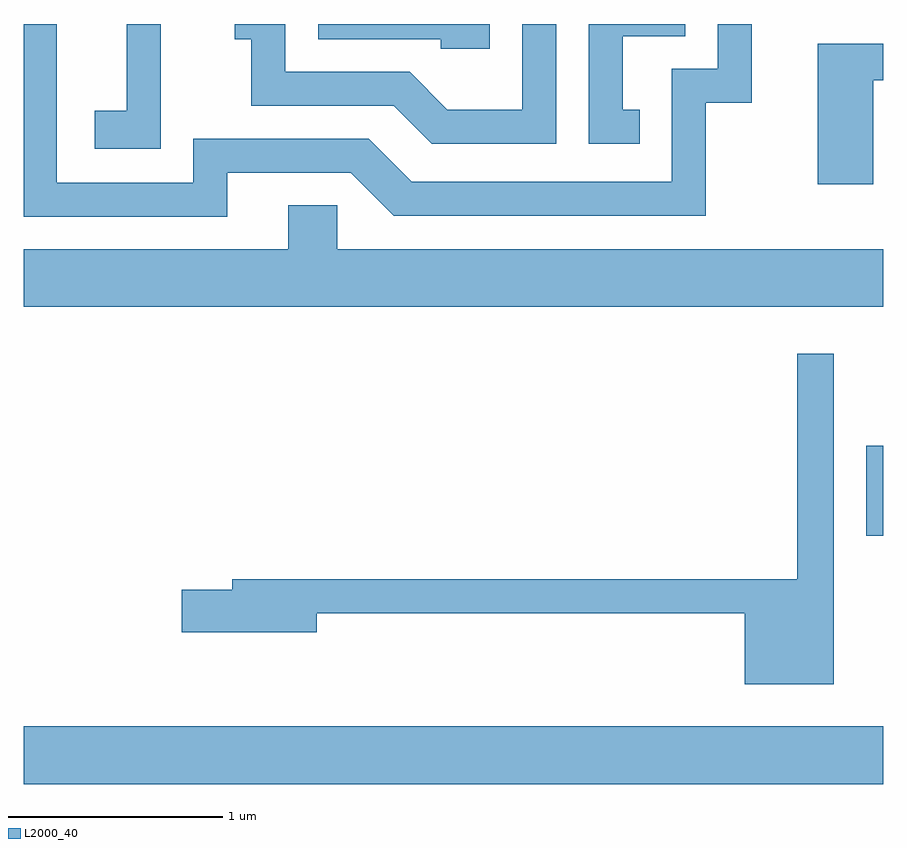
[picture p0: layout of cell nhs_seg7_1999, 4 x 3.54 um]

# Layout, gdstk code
import gdstk
lib = gdstk.Library(unit=1e-6, precision=1e-09)
def R(c, l, rs):  # rectangles x0, y0, x1, y1
    for r in rs: c.add(gdstk.rectangle(r[:2], r[2:], *l))
def P(c, l, *ps):  # polygons
    for p in ps: c.add(gdstk.Polygon(p, *l))
L2000_40 = (2000, 40)

nhs_seg7_1999 = lib.new_cell('nhs_seg7_1999')
R(nhs_seg7_1999, L2000_40, [(245.611,1758.716,249.611,1758.984), (249.531,1759.871,249.611,1760.289)])
P(nhs_seg7_1999, L2000_40, [(248.089,1762.252),(247.931,1762.252),(247.931,1761.854),(247.582,1761.854),(247.407,1762.029),(246.829,1762.029),(246.829,1762.252),(246.593,1762.252),(246.593,1762.181),(246.671,1762.181),(246.671,1761.871),(247.334,1761.871),(247.509,1761.696),(248.089,1761.696)],
  [(246.249,1762.252),(246.091,1762.252),(246.091,1761.849),(245.941,1761.849),(245.941,1761.671),(246.249,1761.671)],
  [(247.779,1762.252),(246.981,1762.252),(246.981,1762.181),(247.551,1762.181),(247.551,1762.136),(247.779,1762.136)],
  [(248.478,1761.854),(248.399,1761.854),(248.399,1762.196),(248.689,1762.196),(248.689,1762.252),(248.241,1762.252),(248.241,1761.696),(248.478,1761.696)],
  [(246.559,1761.561),(247.134,1761.561),(247.334,1761.361),(248.784,1761.361),(248.784,1761.886),(248.999,1761.886),(248.999,1762.252),(248.841,1762.252),(248.841,1762.044),(248.626,1762.044),(248.626,1761.519),(247.417,1761.519),(247.217,1761.719),(246.401,1761.719),(246.401,1761.514),(245.764,1761.514),(245.764,1762.252),(245.611,1762.252),(245.611,1761.356),(246.559,1761.356)],
  [(249.564,1761.991),(249.611,1761.991),(249.611,1762.159),(249.306,1762.159),(249.306,1761.506),(249.564,1761.506)],
  [(249.611,1761.204),(247.069,1761.204),(247.069,1761.409),(246.841,1761.409),(246.841,1761.204),(245.611,1761.204),(245.611,1760.936),(249.611,1760.936)],
  [(249.379,1760.718),(249.211,1760.718),(249.211,1759.669),(246.581,1759.669),(246.581,1759.619),(246.346,1759.619),(246.346,1759.421),(246.974,1759.421),(246.974,1759.511),(248.966,1759.511),(248.966,1759.181),(249.379,1759.181)])

lib.write_gds('nhs_seg7_1999.gds')
